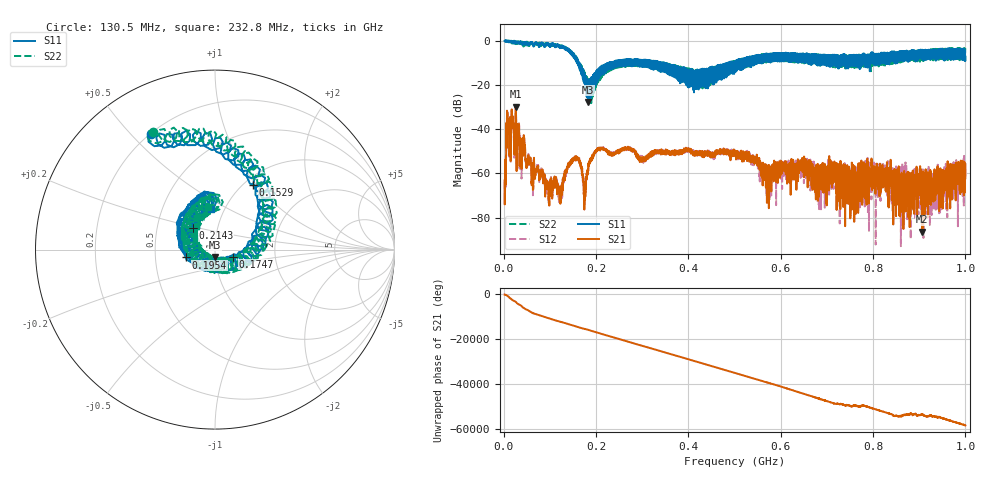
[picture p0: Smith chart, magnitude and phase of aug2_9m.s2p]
!Keysight Technologies N9923A: A.12.45
!Date: Saturday, 02 August 2025 18:45:57
!Timezone: (UTC+08:00) Kuala Lumpur, Singapore
!Model: N9923A
!Serial: MY61181427
!GPS Latitude:
!GPS Longitude:
!GPS TimeStamp: 0001-01-01 00:00:00Z
!GPS Seconds Since Last Read: 0
!CHECKSUM:1781830317
!Correction: S11(ON U)S21(ON U)S12(ON U)S22(ON U)
!S2P File: Measurements:S11,S21,S12,S22:
# Hz S DB R 50
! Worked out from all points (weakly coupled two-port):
!   4001 points, 2 MHz to 1 GHz, reference 50 ohm
!   highest |S21| = -29.90 dB at 26.2 MHz (marker M1); lowest = -86.3 dB at 906.4 MHz (marker M2)
!   lowest |S11| = -27.7 dB at 182.9 MHz (marker M3), VSWR 1.09, Z = 49.9 - j4.11 ohm
!   |S11| at or under -10 dB: 163.9 MHz to 228.5 MHz (64.54 MHz wide, 32.9 % of centre); 228.8 MHz to 230.1 MHz (1.314 MHz wide, 0.573 % of centre); 347.8 MHz to 484.8 MHz (137 MHz wide, 32.9 % of centre) (the widest 3 of 223)
!   |S22| runs from -28.6 to 0.1 dB; largest |S21 - S12| = 0.011
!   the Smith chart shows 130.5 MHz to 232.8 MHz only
!   S11 on the Smith chart (normalised r, x): 130.5 MHz: 0.20, +0.57; 152.9 MHz: 1.10, +0.96; 174.7 MHz: 1.22, -0.10; 195.4 MHz: 0.72, -0.06; 214.3 MHz: 0.76, +0.19; 232.8 MHz: 0.87, +0.41
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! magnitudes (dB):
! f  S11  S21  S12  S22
! 2 MHz  -0.1  -63.2  -64.1  -0.1
! 9.984 MHz  0.0  -40.3  -40.3  0.0
! 26.2 MHz  -1.0  -29.9  -30.0  -1.6
! 94.31 MHz  -1.4  -65.7  -63.8  -2.0
! 122 MHz  -2.7  -72.4  -71.3  -2.4
! 130.5 MHz  -2.7  -62.4  -64.3  -2.6
! 152.9 MHz  -7.6  -53.0  -53.5  -6.9
! 168.4 MHz  -14.2  -57.5  -57.8  -14.1
! 174.7 MHz  -19.3  -76.4  -67.4  -16.9
! 182.9 MHz  -27.7  -58.4  -56.6  -22.4
! 195.4 MHz  -15.5  -51.0  -51.3  -16.1
! 214.3 MHz  -15.3  -48.6  -48.6  -14.7
! 232.8 MHz  -12.9  -51.9  -50.9  -12.5
! 334.8 MHz  -11.8  -50.4  -50.9  -10.0
! 417.2 MHz  -21.8  -51.1  -50.5  -15.9
! 501 MHz  -12.2  -50.7  -51.6  -12.7
! 572.4 MHz  -7.2  -57.0  -58.0  -6.3
! 667.4 MHz  -7.0  -58.3  -58.2  -9.8
! 763.2 MHz  -7.7  -61.6  -65.5  -9.3
! 833.8 MHz  -7.0  -60.5  -69.4  -7.7
! 906.4 MHz  -4.1  -86.3  -64.6  -8.9
! 1 GHz  -7.2  -55.9  -59.5  -3.4
